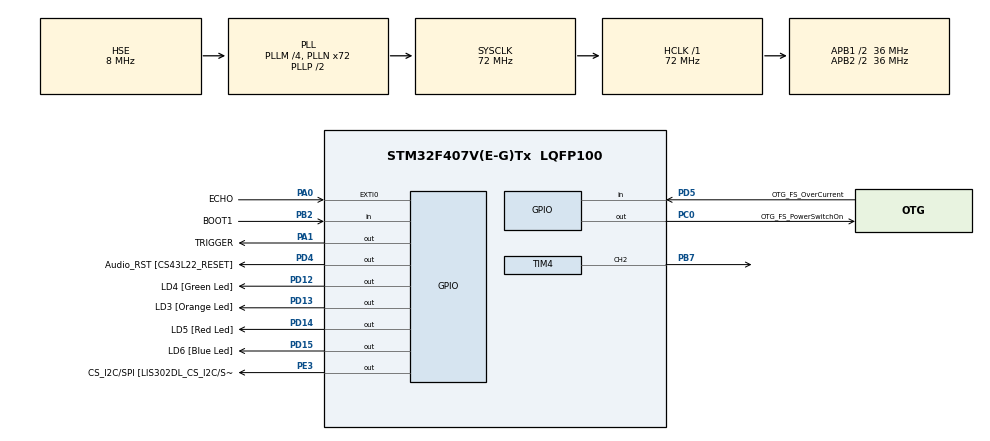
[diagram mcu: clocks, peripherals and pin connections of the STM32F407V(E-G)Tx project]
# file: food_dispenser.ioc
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Mcu.Family=STM32F4
Mcu.Name=STM32F407V(E-G)Tx
Mcu.Package=LQFP100
NVIC.EXTI0_IRQn=true\:0\:0\:false\:false\:true\:true\:true
NVIC.PriorityGroup=NVIC_PRIORITYGROUP_0
PA0-WKUP.GPIO_Label=ECHO
PA0-WKUP.GPIO_ModeDefaultEXTI=GPIO_MODE_IT_RISING_FALLING
PA0-WKUP.Signal=GPXTI0
PA1.GPIO_Label=TRIGGER
PA1.Signal=GPIO_Output
PA10.GPIO_Label=OTG_FS_ID
PA10.GPIO_Mode=GPIO_MODE_AF_PP
PA10.GPIO_PuPd=GPIO_NOPULL
PA10.GPIO_Speed=GPIO_SPEED_FREQ_LOW
PA10.Signal=USB_OTG_FS_ID
PA11.GPIO_Label=OTG_FS_DM
PA11.GPIO_Mode=GPIO_MODE_AF_PP
PA11.GPIO_PuPd=GPIO_NOPULL
PA11.GPIO_Speed=GPIO_SPEED_FREQ_LOW
PA11.Signal=USB_OTG_FS_DM
PA12.GPIO_Label=OTG_FS_DP
PA12.GPIO_Mode=GPIO_MODE_AF_PP
PA12.GPIO_PuPd=GPIO_NOPULL
PA12.GPIO_Speed=GPIO_SPEED_FREQ_LOW
PA12.Signal=USB_OTG_FS_DP
PA13.GPIO_Label=SWDIO
PA13.Mode=Serial_Wire
PA13.Signal=SYS_JTMS-SWDIO
PA14.GPIO_Label=SWCLK
PA14.Mode=Serial_Wire
PA14.Signal=SYS_JTCK-SWCLK
PA4.GPIO_Label=I2S3_WS [CS43L22_LRCK]
PA4.GPIO_Mode=GPIO_MODE_AF_PP
PA4.GPIO_PuPd=GPIO_NOPULL
PA4.GPIO_Speed=GPIO_SPEED_FREQ_LOW
PA4.Signal=I2S3_WS
PA5.GPIO_Label=SPI1_SCK [LIS302DL_SCL/SPC]
PA5.GPIO_Mode=GPIO_MODE_AF_PP
PA5.GPIO_PuPd=GPIO_NOPULL
PA5.GPIO_Speed=GPIO_SPEED_FREQ_LOW
PA5.Signal=SPI1_SCK
PA6.GPIO_Label=SPI1_MISO [LIS302DL_SDO]
PA6.GPIO_Mode=GPIO_MODE_AF_PP
PA6.GPIO_PuPd=GPIO_NOPULL
PA6.GPIO_Speed=GPIO_SPEED_FREQ_LOW
PA6.Signal=SPI1_MISO
PA7.GPIO_Label=SPI1_MOSI [LIS302DL_SDA/SDI/SDO]
PA7.GPIO_Mode=GPIO_MODE_AF_PP
PA7.GPIO_PuPd=GPIO_NOPULL
PA7.GPIO_Speed=GPIO_SPEED_FREQ_LOW
PA7.Signal=SPI1_MOSI
PA9.GPIO_Label=VBUS_FS
PA9.GPIO_Mode=GPIO_MODE_INPUT
PA9.GPIO_PuPd=GPIO_NOPULL
PA9.Signal=USB_OTG_FS_VBUS
PB10.GPIO_Label=CLK_IN [MP45DT02_CLK]
PB10.GPIO_Mode=GPIO_MODE_AF_PP
PB10.GPIO_PuPd=GPIO_NOPULL
PB10.GPIO_Speed=GPIO_SPEED_FREQ_LOW
PB10.Signal=I2S2_CK
PB2.GPIO_Label=BOOT1
PB2.GPIO_Mode=GPIO_MODE_INPUT
PB2.GPIO_PuPd=GPIO_NOPULL
PB2.Signal=GPIO_Input
PB3.GPIO_Label=SWO
PB3.Signal=SYS_JTDO-SWO
PB6.GPIO_Label=Audio_SCL [CS43L22_SCL]
PB6.GPIO_Mode=GPIO_MODE_AF_OD
PB6.GPIO_Pu=GPIO_PULLUP
PB6.GPIO_PuPd=GPIO_NOPULL
PB6.GPIO_Speed=GPIO_SPEED_FREQ_LOW
PB6.Signal=I2C1_SCL
PB7.Signal=S_TIM4_CH2
PB9.GPIO_Label=Audio_SDA [CS43L22_SDA]
PB9.GPIO_Mode=GPIO_MODE_AF_OD
PB9.GPIO_Pu=GPIO_PULLUP
PB9.GPIO_PuPd=GPIO_NOPULL
PB9.GPIO_Speed=GPIO_SPEED_FREQ_LOW
PB9.Signal=I2C1_SDA
PC0.GPIO_Label=OTG_FS_PowerSwitchOn
PC0.GPIO_PuPd=GPIO_NOPULL
PC0.GPIO_Speed=GPIO_SPEED_FREQ_LOW
PC0.PinState=GPIO_PIN_SET
PC0.Signal=GPIO_Output
PC10.GPIO_Label=I2S3_SCK [CS43L22_SCLK]
PC10.GPIO_Mode=GPIO_MODE_AF_PP
PC10.GPIO_PuPd=GPIO_NOPULL
PC10.GPIO_Speed=GPIO_SPEED_FREQ_LOW
PC10.Signal=I2S3_CK
PC12.GPIO_Label=I2S3_SD [CS43L22_SDIN]
PC12.GPIO_Mode=GPIO_MODE_AF_PP
PC12.GPIO_PuPd=GPIO_NOPULL
PC12.GPIO_Speed=GPIO_SPEED_FREQ_LOW
PC12.Signal=I2S3_SD
PC14-OSC32_IN.GPIO_Label=PC14-OSC32_IN
PC14-OSC32_IN.Mode=LSE-External-Oscillator
PC14-OSC32_IN.Signal=RCC_OSC32_IN
PC15-OSC32_OUT.GPIO_Label=PC15-OSC32_OUT
PC15-OSC32_OUT.Mode=LSE-External-Oscillator
PC15-OSC32_OUT.Signal=RCC_OSC32_OUT
PC3.GPIO_Label=PDM_OUT [MP45DT02_DOUT]
PC3.GPIO_Mode=GPIO_MODE_AF_PP
PC3.GPIO_PuPd=GPIO_NOPULL
PC3.GPIO_Speed=GPIO_SPEED_FREQ_LOW
PC3.Signal=I2S2_SD
PC7.GPIO_Label=I2S3_MCK [CS43L22_MCLK]
PC7.GPIO_Mode=GPIO_MODE_AF_PP
PC7.GPIO_PuPd=GPIO_NOPULL
PC7.GPIO_Speed=GPIO_SPEED_FREQ_LOW
PC7.Signal=I2S3_MCK
PD12.GPIO_Label=LD4 [Green Led]
PD12.GPIO_PuPd=GPIO_NOPULL
PD12.GPIO_Speed=GPIO_SPEED_FREQ_LOW
PD12.Signal=GPIO_Output
PD13.GPIO_Label=LD3 [Orange Led]
PD13.GPIO_PuPd=GPIO_NOPULL
PD13.GPIO_Speed=GPIO_SPEED_FREQ_LOW
PD13.Signal=GPIO_Output
PD14.GPIO_Label=LD5 [Red Led]
PD14.GPIO_PuPd=GPIO_NOPULL
PD14.GPIO_Speed=GPIO_SPEED_FREQ_LOW
PD14.Signal=GPIO_Output
PD15.GPIO_Label=LD6 [Blue Led]
PD15.GPIO_PuPd=GPIO_NOPULL
PD15.GPIO_Speed=GPIO_SPEED_FREQ_LOW
PD15.Signal=GPIO_Output
PD4.GPIO_Label=Audio_RST [CS43L22_RESET]
PD4.GPIO_PuPd=GPIO_NOPULL
PD4.GPIO_Speed=GPIO_SPEED_FREQ_LOW
PD4.Signal=GPIO_Output
PD5.GPIO_Label=OTG_FS_OverCurrent
PD5.GPIO_Mode=GPIO_MODE_INPUT
PD5.GPIO_PuPd=GPIO_NOPULL
PD5.Signal=GPIO_Input
PE3.GPIO_Label=CS_I2C/SPI [LIS302DL_CS_I2C/SPI]
PE3.GPIO_PuPd=GPIO_NOPULL
PE3.GPIO_Speed=GPIO_SPEED_FREQ_LOW
PE3.Signal=GPIO_Output
PH0-OSC_IN.GPIO_Label=PH0-OSC_IN
PH0-OSC_IN.Mode=HSE-External-Oscillator
PH0-OSC_IN.Signal=RCC_OSC_IN
PH1-OSC_OUT.GPIO_Label=PH1-OSC_OUT
PH1-OSC_OUT.Mode=HSE-External-Oscillator
PH1-OSC_OUT.Signal=RCC_OSC_OUT
ProjectManager.HeapSize=0x200
ProjectManager.StackSize=0x400
ProjectManager.TargetToolchain=STM32CubeIDE
RCC.48MHZClocksFreq_Value=48000000
RCC.AHBFreq_Value=72000000
RCC.APB1CLKDivider=RCC_HCLK_DIV2
RCC.APB1Freq_Value=36000000
RCC.APB1TimFreq_Value=72000000
RCC.APB2CLKDivider=RCC_HCLK_DIV2
RCC.APB2Freq_Value=36000000
RCC.APB2TimFreq_Value=72000000
RCC.CortexFreq_Value=72000000
RCC.HCLKFreq_Value=72000000
RCC.HSE_VALUE=8000000
RCC.HSI_VALUE=16000000
RCC.PLLI2SN=50
RCC.PLLM=4
RCC.PLLN=72
RCC.PLLQ=3
RCC.PLLSourceVirtual=RCC_PLLSOURCE_HSE
RCC.SYSCLKFreq_VALUE=72000000
RCC.SYSCLKSource=RCC_SYSCLKSOURCE_PLLCLK
RCC.VCOOutputFreq_Value=144000000
SH.S_TIM4_CH2.0=TIM4_CH2,PWM Generation2 CH2
TIM2.Period=0xFFFF - 1
TIM2.Prescaler=72 - 1
TIM4.AutoReloadPreload=TIM_AUTORELOAD_PRELOAD_ENABLE
TIM4.Channel-PWM\ Generation2\ CH2=TIM_CHANNEL_2
TIM4.Period=200 -1
TIM4.Prescaler=7200 - 1
VP_TIM2_VS_ClockSourceINT.Mode=Internal
board=STM32F407G-DISC1

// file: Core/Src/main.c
/* USER CODE BEGIN Header */
/**
  ******************************************************************************
  * @file           : main.c
  * @brief          : Main program body
  ******************************************************************************
  * @attention
  *
  * Copyright (c) 2022 STMicroelectronics.
  * All rights reserved.
  *
  * This software is licensed under terms that can be found in the LICENSE file
  * in the root directory of this software component.
  * If no LICENSE file comes with this software, it is provided AS-IS.
  *
  ******************************************************************************
  */
/* USER CODE END Header */
#include "main.h"
#include "tim.h"
#include "gpio.h"

/* USER CODE BEGIN Includes */
#include "stdint.h"
#include "stdbool.h"
/* USER CODE END Includes */

/* USER CODE BEGIN PV */
//Testing variables
uint32_t g_distance=0;
uint32_t distance_recv;
volatile uint32_t g_pulselen=0;
volatile bool     g_new_distance_data=false;
/* USER CODE END PV */

void SystemClock_Config(void);
/* USER CODE BEGIN PFP */

/* Servo motor interfaces */
int32_t map(int32_t x, int32_t in_min, int32_t in_max, int32_t out_min, int32_t out_max)
{
  return (float) ((x*1.0 - in_min) * (out_max - out_min) / (in_max - in_min) + out_min);
}
void PWM_Init(void);
void PWM_SetDuty(uint8_t duty);
void Servo_SetAngle(int8_t angle);
void Servo_Reset(void);

void SupplyGate_Open(void)
{
	/* From 0 deg - > 90 Deg */
	for(int8_t deg = 0; deg < 90; deg +=5)
	{
		Servo_SetAngle(deg);
		HAL_Delay(100);
	}
}

void SupplyGate_Close(void)
{
	/* From 90 deg - > 0 Deg */
	for(int8_t deg = 90; deg > 0; deg -= 5)
	{
		Servo_SetAngle(deg);
		HAL_Delay(100);
	}
}

/* HC_SR04 ultra sonic sensor interface */
void HC_SR04_TriggerPulse(void);
bool HC_SR04_ReadData(uint32_t* p_data);
/* USER CODE END PFP */

volatile uint16_t g_duty=0;
int main(void)
{

	/* MCU Configuration--------------------------------------------------------*/

	/* Reset of all peripherals, Initializes the Flash interface and the Systick. */
	HAL_Init();

	/* Configure the system clock */
	SystemClock_Config();

	/* Initialize all configured peripherals */
	MX_GPIO_Init();
	MX_TIM2_Init();
	MX_TIM4_Init();
	/* USER CODE BEGIN 2 */
	HAL_TIM_PWM_Start(&htim4, TIM_CHANNEL_2);
	HAL_TIM_Base_Start_IT(&htim4);
	/* USER CODE END 2 */

	/* Infinite loop */
	while (1)
	{

		/* USER CODE BEGIN 3 */
		SupplyGate_Open();
		HAL_Delay(5000);
		SupplyGate_Close();

		PWM_SetDuty(g_duty);
		HAL_Delay(1000);
//		Servo_SetAngle(g_duty);
//		HC_SR04_ReadData(&distance_recv);
//		HAL_Delay(1000);
	}
	/* USER CODE END 3 */
}

void SystemClock_Config(void)
{
  RCC_OscInitTypeDef RCC_OscInitStruct = {0};
  RCC_ClkInitTypeDef RCC_ClkInitStruct = {0};

  /** Configure the main internal regulator output voltage
  */
  __HAL_RCC_PWR_CLK_ENABLE();
  __HAL_PWR_VOLTAGESCALING_CONFIG(PWR_REGULATOR_VOLTAGE_SCALE1);
  /** Initializes the RCC Oscillators according to the specified parameters
  * in the RCC_OscInitTypeDef structure.
  */
  RCC_OscInitStruct.OscillatorType = RCC_OSCILLATORTYPE_HSE;
  RCC_OscInitStruct.HSEState = RCC_HSE_ON;
  RCC_OscInitStruct.PLL.PLLState = RCC_PLL_ON;
  RCC_OscInitStruct.PLL.PLLSource = RCC_PLLSOURCE_HSE;
  RCC_OscInitStruct.PLL.PLLM = 4;
  RCC_OscInitStruct.PLL.PLLN = 72;
  RCC_OscInitStruct.PLL.PLLP = RCC_PLLP_DIV2;
  RCC_OscInitStruct.PLL.PLLQ = 3;
  if (HAL_RCC_OscConfig(&RCC_OscInitStruct) != HAL_OK)
  {
    Error_Handler();
  }
  /** Initializes the CPU, AHB and APB buses clocks
  */
  RCC_ClkInitStruct.ClockType = RCC_CLOCKTYPE_HCLK|RCC_CLOCKTYPE_SYSCLK
                              |RCC_CLOCKTYPE_PCLK1|RCC_CLOCKTYPE_PCLK2;
  RCC_ClkInitStruct.SYSCLKSource = RCC_SYSCLKSOURCE_PLLCLK;
  RCC_ClkInitStruct.AHBCLKDivider = RCC_SYSCLK_DIV1;
  RCC_ClkInitStruct.APB1CLKDivider = RCC_HCLK_DIV2;
  RCC_ClkInitStruct.APB2CLKDivider = RCC_HCLK_DIV2;

  if (HAL_RCC_ClockConfig(&RCC_ClkInitStruct, FLASH_LATENCY_2) != HAL_OK)
  {
    Error_Handler();
  }
}

/* USER CODE BEGIN 4 */
void PWM_Init(void)
{
  HAL_TIM_PWM_Start(&htim4, TIM_CHANNEL_1);
	HAL_TIM_Base_Start_IT(&htim4);
	__HAL_TIM_SET_COMPARE(&htim4, TIM_CHANNEL_1, 0);
}

void PWM_SetDuty(uint8_t duty)
{
  if(duty == 0)
  {
    __HAL_TIM_SET_COMPARE(&htim4, TIM_CHANNEL_2, 0);
  }
  else if (duty >= 100)
  {
    __HAL_TIM_SET_COMPARE(&htim4, TIM_CHANNEL_2, 200);
  }
  else
  {
    __HAL_TIM_SET_COMPARE(&htim4, TIM_CHANNEL_2, (duty*200 / 100));
  }
}

void Servo_SetAngle(int8_t angle)
{
  uint8_t duty_set = map(angle, -90, 90, 5, 10); // -90 deg = 1ms = 5% duty cycle, 90 = 2ms = 10% duty cycle
  PWM_SetDuty(duty_set);
}

void HC_SR04_TriggerPulse(void)
{
  HAL_GPIO_WritePin(TRIGGER_GPIO_Port, TRIGGER_Pin, GPIO_PIN_SET);
  HAL_Delay(10);
  HAL_GPIO_WritePin(TRIGGER_GPIO_Port, TRIGGER_Pin, GPIO_PIN_RESET);
}

bool HC_SR04_ReadData(uint32_t* p_data)
{
   HC_SR04_TriggerPulse();
   //Wait for respond
   HAL_Delay(500);
   if( false == g_new_distance_data)
   {
      return false;
   }
  else
   {
	  if(g_pulselen < 30000)
	  {
		  *p_data = g_pulselen * 10 / 575;
	  }
	  g_new_distance_data = false;

   }

   return true;
}

void EXTI0_IRQHandler(void)
{
  static bool rising_edge_detected=false;
  if(ECHO_Pin == HAL_GPIO_ReadPin(ECHO_GPIO_Port, ECHO_Pin) ) //Rising
  {
    //Reset timer
    __HAL_TIM_SET_COUNTER(&htim2, 0);
    HAL_TIM_Base_Start(&htim2);

    rising_edge_detected = true;

  }
  else //Falling edge
  {
    if(true == rising_edge_detected)
    {
      // Get timer value
      g_pulselen = __HAL_TIM_GET_COUNTER(&htim2);
      g_new_distance_data = true;

    }

    rising_edge_detected = false;
    HAL_TIM_Base_Stop(&htim2);
  }

  HAL_GPIO_EXTI_IRQHandler(ECHO_Pin);
}
/* USER CODE END 4 */

void Error_Handler(void)
{
  __disable_irq();
  while (1)
  {
  }
}
